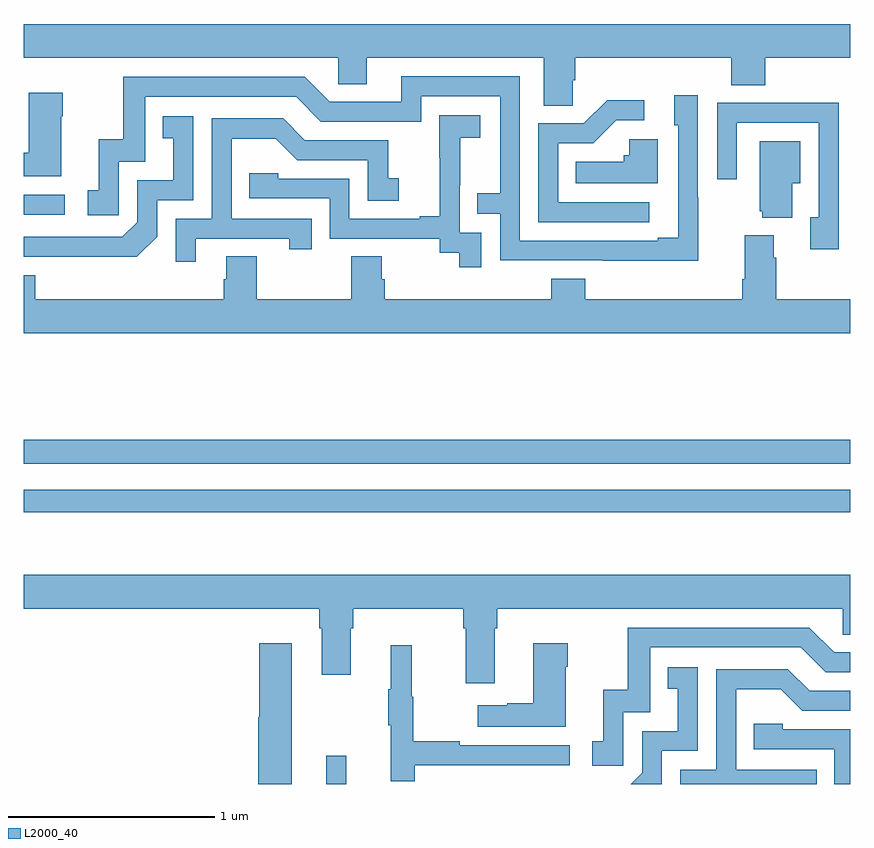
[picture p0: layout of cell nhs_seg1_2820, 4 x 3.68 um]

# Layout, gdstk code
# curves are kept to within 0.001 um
import gdstk
lib = gdstk.Library(unit=1e-6, precision=1e-09)
def R(c, l, rs):  # rectangles x0, y0, x1, y1
    for r in rs: c.add(gdstk.rectangle(r[:2], r[2:], *l))
def P(c, l, *ps):  # polygons
    for p in ps: c.add(gdstk.Polygon(p, *l))
L2000_40 = (2000, 40)

nhs_seg1_2820 = lib.new_cell('nhs_seg1_2820')
R(nhs_seg1_2820, L2000_40, [(264.464,568.199,264.561,568.336), (263,569.514,267,569.622), (263,569.748,267,569.864), (263,570.954,263.2,571.05)])
P(nhs_seg1_2820, L2000_40, [(265.656,571.603),(265.67,571.603),(265.67,571.712),(266.423,571.712),(266.423,571.579),(266.588,571.579),(266.588,571.712),(267,571.712),(267,571.876),(263,571.876),(263,571.712),(264.522,571.712),(264.522,571.585),(264.661,571.585),(264.661,571.712),(265.517,571.712),(265.517,571.48),(265.656,571.48)],
  [(266.265,571.037),(266.262,571.037),(266.262,571.531),(266.147,571.531),(266.147,571.386),(266.166,571.386),(266.166,570.841),(266.069,570.841),(266.069,570.828),(265.401,570.828),(265.401,571.623),(264.827,571.623),(264.827,571.5),(264.48,571.5),(264.36,571.62),(263.481,571.62),(263.481,571.318),(263.363,571.318),(263.363,571.071),(263.31,571.071),(263.31,570.951),(263.46,570.951),(263.46,571.209),(263.589,571.209),(263.589,571.524),(264.318,571.524),(264.438,571.404),(264.924,571.404),(264.924,571.527),(265.305,571.527),(265.305,571.058),(265.195,571.058),(265.195,570.957),(265.305,570.957),(265.305,570.732),(266.265,570.731)],
  [(263.182,571.43),(263.19,571.43),(263.19,571.543),(263.024,571.543),(263.024,571.253),(263,571.253),(263,571.139),(263.182,571.139)],
  [(266.026,571.014),(265.587,571.014),(265.587,571.299),(265.756,571.299),(265.867,571.41),(266.002,571.41),(266.002,571.508),(265.823,571.508),(265.71,571.395),(265.491,571.395),(265.491,570.918),(266.026,570.918)],
  [(266.943,571.496),(266.671,571.496),(266.671,571.494),(266.355,571.494),(266.355,571.125),(266.451,571.125),(266.451,571.398),(266.847,571.398),(266.847,570.942),(266.807,570.942),(266.807,570.786),(266.943,570.786)],
  [(265.215,570.867),(265.11,570.867),(265.11,571.097),(265.112,571.097),(265.112,571.325),(265.21,571.325),(265.21,571.435),(265.012,571.435),(265.012,571.229),(265.013,571.229),(265.013,570.946),(264.917,570.946),(264.917,570.933),(264.576,570.933),(264.576,571.128),(264.231,571.128),(264.231,571.155),(264.091,571.155),(264.091,571.032),(264.48,571.032),(264.48,570.837),(265.014,570.837),(265.014,570.769),(265.107,570.769),(265.107,570.699),(265.215,570.699)],
  [(263.646,570.846),(263.646,571.023),(263.82,571.023),(263.82,571.429),(263.674,571.429),(263.674,571.323),(263.723,571.323),(263.723,571.119),(263.55,571.119),(263.55,570.918),(263.478,570.846),(263,570.846),(263,570.75),(263.548,570.749)],
  [(263.833,570.837),(264.284,570.837),(264.284,570.786),(264.395,570.786),(264.395,570.933),(264.006,570.933),(264.006,571.322),(264.22,571.322),(264.324,571.218),(264.666,571.218),(264.666,571.02),(264.814,571.02),(264.814,571.129),(264.765,571.129),(264.765,571.314),(264.361,571.314),(264.256,571.419),(263.91,571.419),(263.91,570.933),(263.736,570.933),(263.736,570.726),(263.833,570.726)],
  [(266.068,571.318),(265.929,571.318),(265.929,571.242),(265.903,571.242),(265.903,571.21),(265.672,571.21),(265.672,571.106),(266.068,571.106)],
  [(266.719,571.106),(266.758,571.106),(266.758,571.309),(266.561,571.309),(266.561,570.969),(266.573,570.969),(266.573,570.938),(266.719,570.938)],
  [(266.489,570.853),(266.489,570.64),(266.477,570.64),(266.477,570.544),(265.718,570.544),(265.718,570.643),(265.553,570.643),(265.553,570.544),(264.746,570.544),(264.746,570.642),(264.733,570.642),(264.733,570.752),(264.586,570.752),(264.586,570.544),(264.129,570.544),(264.129,570.752),(263.981,570.752),(263.981,570.642),(263.969,570.642),(263.969,570.544),(263.057,570.544),(263.057,570.661),(263,570.661),(263,570.38),(267,570.38),(267,570.544),(266.642,570.544),(266.642,570.746),(266.629,570.746),(266.629,570.853)],
  [(265.279,568.952),(265.292,568.952),(265.292,569.048),(266.964,569.048),(266.964,568.921),(267,568.921),(267,569.212),(263,569.212),(263,569.048),(264.431,569.048),(264.431,568.952),(264.443,568.952),(264.443,568.728),(264.583,568.728),(264.583,568.952),(264.596,568.952),(264.596,569.048),(265.127,569.048),(265.127,568.952),(265.139,568.952),(265.139,568.686),(265.279,568.686)],
  [(265.902,568.545),(266.031,568.545),(266.031,568.86),(266.76,568.86),(266.88,568.74),(267,568.74),(267,568.836),(266.922,568.836),(266.802,568.956),(265.923,568.956),(265.923,568.654),(265.805,568.654),(265.805,568.407),(265.752,568.407),(265.752,568.287),(265.902,568.287)],
  [(264.298,568.879),(264.14,568.879),(264.14,568.521),(264.134,568.521),(264.134,568.199),(264.298,568.199)],
  [(265.624,568.766),(265.632,568.766),(265.632,568.879),(265.466,568.879),(265.466,568.589),(265.34,568.589),(265.34,568.579),(265.197,568.579),(265.197,568.475),(265.624,568.475)],
  [(264.893,568.29),(265.642,568.29),(265.642,568.386),(265.109,568.386),(265.109,568.406),(264.886,568.406),(264.886,568.62),(264.878,568.62),(264.878,568.87),(264.776,568.87),(264.776,568.657),(264.765,568.657),(264.765,568.483),(264.776,568.483),(264.776,568.212),(264.893,568.212)],
  [(266.088,568.359),(266.262,568.359),(266.262,568.765),(266.116,568.765),(266.116,568.659),(266.165,568.659),(266.165,568.455),(265.992,568.455),(265.992,568.254),(265.937,568.199),(266.088,568.199)],
  [(266.837,568.269),(266.448,568.269),(266.448,568.658),(266.662,568.658),(266.766,568.554),(267,568.554),(267,568.65),(266.803,568.65),(266.698,568.755),(266.352,568.755),(266.352,568.269),(266.178,568.269),(266.178,568.199),(266.837,568.199)],
  [(267,568.464),(266.673,568.464),(266.673,568.491),(266.533,568.491),(266.533,568.368),(266.922,568.368),(266.922,568.199),(267,568.199)])

lib.write_gds('nhs_seg1_2820.gds')
